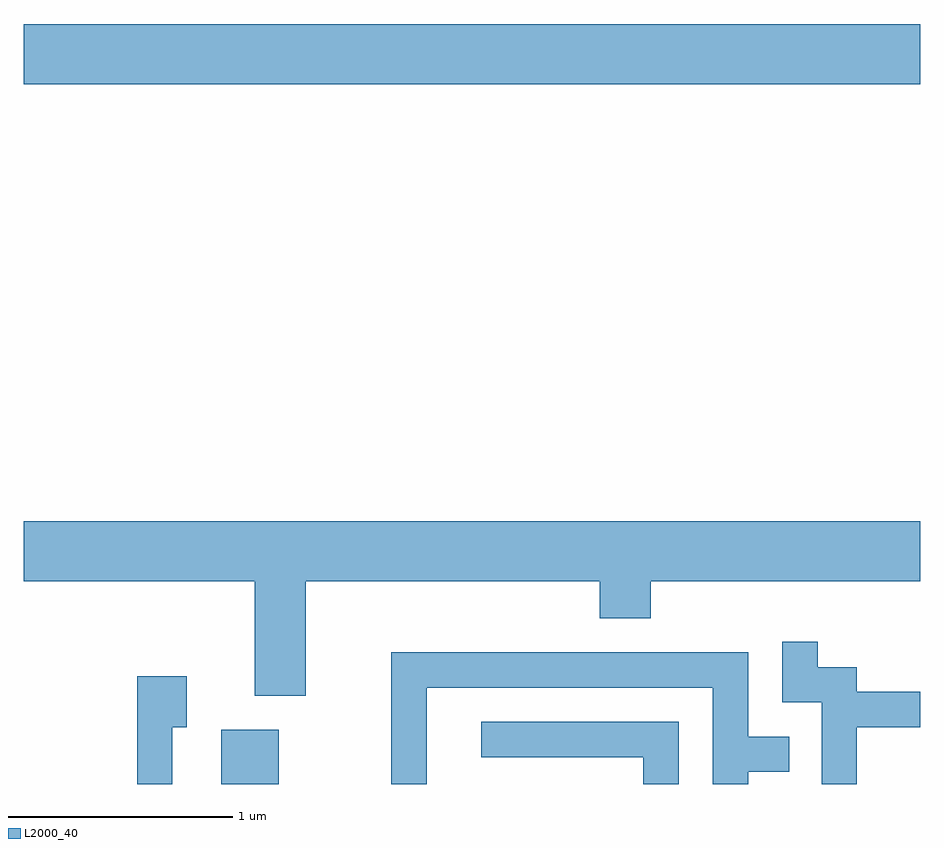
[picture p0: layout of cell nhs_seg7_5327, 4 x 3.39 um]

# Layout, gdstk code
import gdstk
lib = gdstk.Library(unit=1e-6, precision=1e-09)
def R(c, l, rs):  # rectangles x0, y0, x1, y1
    for r in rs: c.add(gdstk.rectangle(r[:2], r[2:], *l))
def P(c, l, *ps):  # polygons
    for p in ps: c.add(gdstk.Polygon(p, *l))
L2000_40 = (2000, 40)

nhs_seg7_5327 = lib.new_cell('nhs_seg7_5327')
R(nhs_seg7_5327, L2000_40, [(348.491,1762.252,348.749,1762.494), (347.611,1765.376,351.611,1765.644)])
P(nhs_seg7_5327, L2000_40, [(348.869,1763.156),(350.181,1763.156),(350.181,1762.991),(350.409,1762.991),(350.409,1763.156),(351.611,1763.156),(351.611,1763.424),(347.611,1763.424),(347.611,1763.156),(348.641,1763.156),(348.641,1762.646),(348.869,1762.646)],
  [(351.329,1762.506),(351.611,1762.506),(351.611,1762.664),(351.329,1762.664),(351.329,1762.774),(351.154,1762.774),(351.154,1762.888),(350.996,1762.888),(350.996,1762.616),(351.171,1762.616),(351.171,1762.252),(351.329,1762.252)],
  [(349.409,1762.681),(350.686,1762.681),(350.686,1762.252),(350.844,1762.252),(350.844,1762.306),(351.028,1762.306),(351.028,1762.464),(350.844,1762.464),(350.844,1762.839),(349.251,1762.839),(349.251,1762.252),(349.409,1762.252)],
  [(348.274,1762.506),(348.339,1762.506),(348.339,1762.734),(348.116,1762.734),(348.116,1762.252),(348.274,1762.252)],
  [(350.534,1762.529),(349.653,1762.529),(349.653,1762.371),(350.376,1762.371),(350.376,1762.252),(350.534,1762.252)])

lib.write_gds('nhs_seg7_5327.gds')
